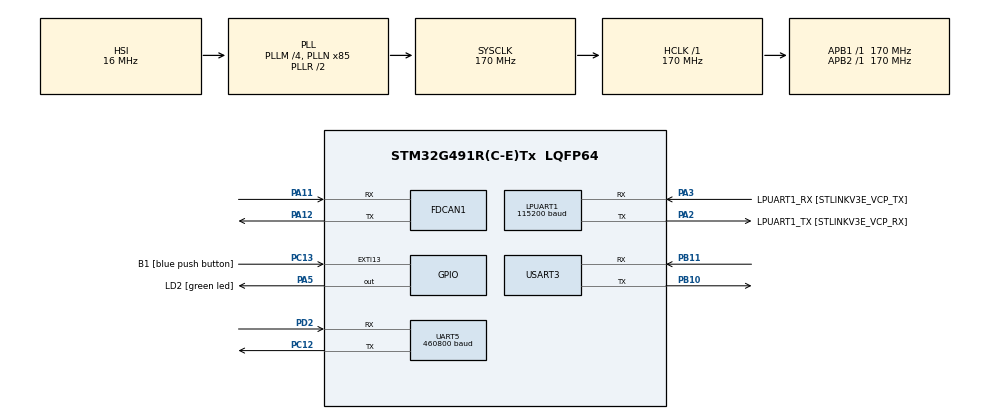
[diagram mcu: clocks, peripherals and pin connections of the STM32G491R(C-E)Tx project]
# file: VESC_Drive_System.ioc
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Dma.LPUART1_RX.0.Direction=DMA_PERIPH_TO_MEMORY
Dma.LPUART1_RX.0.EventEnable=DISABLE
Dma.LPUART1_RX.0.Instance=DMA1_Channel1
Dma.LPUART1_RX.0.MemDataAlignment=DMA_MDATAALIGN_BYTE
Dma.LPUART1_RX.0.MemInc=DMA_MINC_ENABLE
Dma.LPUART1_RX.0.Mode=DMA_CIRCULAR
Dma.LPUART1_RX.0.PeriphDataAlignment=DMA_PDATAALIGN_BYTE
Dma.LPUART1_RX.0.PeriphInc=DMA_PINC_DISABLE
Dma.LPUART1_RX.0.Polarity=HAL_DMAMUX_REQ_GEN_RISING
Dma.LPUART1_RX.0.Priority=DMA_PRIORITY_LOW
Dma.LPUART1_RX.0.RequestNumber=1
Dma.LPUART1_RX.0.SignalID=NONE
Dma.LPUART1_RX.0.SyncEnable=DISABLE
Dma.LPUART1_RX.0.SyncPolarity=HAL_DMAMUX_SYNC_NO_EVENT
Dma.LPUART1_RX.0.SyncRequestNumber=1
Dma.LPUART1_RX.0.SyncSignalID=NONE
Dma.Request0=LPUART1_RX
Dma.Request1=UART5_RX
Dma.UART5_RX.1.Direction=DMA_PERIPH_TO_MEMORY
Dma.UART5_RX.1.EventEnable=DISABLE
Dma.UART5_RX.1.Instance=DMA1_Channel2
Dma.UART5_RX.1.MemDataAlignment=DMA_MDATAALIGN_BYTE
Dma.UART5_RX.1.MemInc=DMA_MINC_ENABLE
Dma.UART5_RX.1.Mode=DMA_NORMAL
Dma.UART5_RX.1.PeriphDataAlignment=DMA_PDATAALIGN_BYTE
Dma.UART5_RX.1.PeriphInc=DMA_PINC_DISABLE
Dma.UART5_RX.1.Polarity=HAL_DMAMUX_REQ_GEN_RISING
Dma.UART5_RX.1.Priority=DMA_PRIORITY_LOW
Dma.UART5_RX.1.RequestNumber=1
Dma.UART5_RX.1.SignalID=NONE
Dma.UART5_RX.1.SyncEnable=DISABLE
Dma.UART5_RX.1.SyncPolarity=HAL_DMAMUX_SYNC_NO_EVENT
Dma.UART5_RX.1.SyncRequestNumber=1
Dma.UART5_RX.1.SyncSignalID=NONE
FDCAN1.AutoRetransmission=ENABLE
FDCAN1.CalculateBaudRateNominal=499999
FDCAN1.CalculateTimeBitNominal=2000
FDCAN1.CalculateTimeQuantumNominal=23.529411764705884
FDCAN1.NominalPrescaler=4
FDCAN1.NominalTimeSeg1=56
FDCAN1.NominalTimeSeg2=28
LPUART1.BaudRate=115200
LPUART1.WordLength=UART_WORDLENGTH_8B
Mcu.Family=STM32G4
Mcu.Name=STM32G491R(C-E)Tx
Mcu.Package=LQFP64
NVIC.DMA1_Channel1_IRQn=true\:0\:0\:false\:false\:true\:false\:true\:true
NVIC.DMA1_Channel2_IRQn=true\:0\:0\:false\:false\:true\:false\:true\:true
NVIC.EXTI15_10_IRQn=true\:0\:0\:false\:false\:true\:true\:true\:true
NVIC.FDCAN1_IT0_IRQn=true\:0\:0\:false\:false\:true\:true\:true\:true
NVIC.PriorityGroup=NVIC_PRIORITYGROUP_4
NVIC.TIM2_IRQn=true\:0\:0\:false\:false\:true\:true\:true\:true
NVIC.TIM3_IRQn=true\:0\:0\:false\:false\:true\:true\:true\:true
NVIC.TIM4_IRQn=true\:0\:0\:false\:false\:true\:true\:true\:true
PA11.Mode=FDCAN_Activate
PA11.Signal=FDCAN1_RX
PA12.Mode=FDCAN_Activate
PA12.Signal=FDCAN1_TX
PA13.GPIO_Label=T_SWDIO
PA13.Mode=Serial_Wire
PA13.Signal=SYS_JTMS-SWDIO
PA14.GPIO_Label=T_SWCLK
PA14.Mode=Serial_Wire
PA14.Signal=SYS_JTCK-SWCLK
PA2.GPIO_Label=LPUART1_TX [STLINKV3E_VCP_RX]
PA2.Mode=Asynchronous
PA2.Signal=LPUART1_TX
PA3.GPIO_Label=LPUART1_RX [STLINKV3E_VCP_TX]
PA3.Mode=Asynchronous
PA3.Signal=LPUART1_RX
PA5.GPIO_Label=LD2 [green led]
PA5.Signal=GPIO_Output
PB10.Mode=Asynchronous
PB10.Signal=USART3_TX
PB11.Mode=Asynchronous
PB11.Signal=USART3_RX
PB3.GPIO_Label=T_SWO
PB3.Signal=SYS_JTDO-SWO
PC12.Mode=Asynchronous
PC12.Signal=UART5_TX
PC13.GPIO_Label=B1 [blue push button]
PC13.Signal=GPXTI13
PC14-OSC32_IN.Mode=LSE-External-Oscillator
PC14-OSC32_IN.Signal=RCC_OSC32_IN
PC15-OSC32_OUT.Mode=LSE-External-Oscillator
PC15-OSC32_OUT.Signal=RCC_OSC32_OUT
PD2.Mode=Asynchronous
PD2.Signal=UART5_RX
PF0-OSC_IN.Mode=HSE-External-Oscillator
PF0-OSC_IN.Signal=RCC_OSC_IN
PF1-OSC_OUT.Mode=HSE-External-Oscillator
PF1-OSC_OUT.Signal=RCC_OSC_OUT
ProjectManager.HeapSize=0x200
ProjectManager.StackSize=0x400
ProjectManager.TargetToolchain=STM32CubeIDE
RCC.ADC12Freq_Value=170000000
RCC.ADC345Freq_Value=170000000
RCC.AHBFreq_Value=170000000
RCC.APB1Freq_Value=170000000
RCC.APB1TimFreq_Value=170000000
RCC.APB2Freq_Value=170000000
RCC.APB2TimFreq_Value=170000000
RCC.CortexFreq_Value=170000000
RCC.EXTERNAL_CLOCK_VALUE=12288000
RCC.HCLKFreq_Value=170000000
RCC.HSE_VALUE=24000000
RCC.HSI48_VALUE=48000000
RCC.HSI_VALUE=16000000
RCC.PLLM=RCC_PLLM_DIV4
RCC.PLLN=85
RCC.RTCClockSelection=RCC_RTCCLKSOURCE_LSE
RCC.SYSCLKFreq_VALUE=170000000
RCC.SYSCLKSource=RCC_SYSCLKSOURCE_PLLCLK
RCC.USBFreq_Value=48000000
RCC.VCOOutputFreq_Value=340000000
TIM2.PeriodNoDither=500000-1
TIM2.Prescaler=339
TIM3.PeriodNoDither=50000-1
TIM3.Prescaler=680
TIM4.PeriodNoDither=50000
TIM4.Prescaler=6800
UART5.BaudRate=460800
USART3.VirtualMode-Asynchronous=VM_ASYNC
VP_SYS_VS_DBSignals.Mode=DisableDeadBatterySignals
VP_TIM2_VS_ClockSourceINT.Mode=Internal
VP_TIM3_VS_ClockSourceINT.Mode=Internal
VP_TIM4_VS_ClockSourceINT.Mode=Internal
board=NUCLEO-G491RE

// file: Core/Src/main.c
/* USER CODE BEGIN Header */
/**
  ******************************************************************************
  * @file           : main.c
  * @brief          : Main program body
  ******************************************************************************
  * @attention
  *
  * Copyright (c) 2023 STMicroelectronics.
  * All rights reserved.
  *
  * This software is licensed under terms that can be found in the LICENSE file
  * in the root directory of this software component.
  * If no LICENSE file comes with this software, it is provided AS-IS.
  *
  ******************************************************************************
  */
/* USER CODE END Header */
#include "main.h"

/* USER CODE BEGIN Includes */
#include "vesc_can_com.h"
#include "GNSS.h"
/* USER CODE END Includes */

FDCAN_HandleTypeDef hfdcan1;

UART_HandleTypeDef hlpuart1;
UART_HandleTypeDef huart5;
UART_HandleTypeDef huart3;
DMA_HandleTypeDef hdma_lpuart1_rx;
DMA_HandleTypeDef hdma_uart5_rx;

TIM_HandleTypeDef htim2;
TIM_HandleTypeDef htim3;
TIM_HandleTypeDef htim4;

/* USER CODE BEGIN PV */

FDCAN_TxHeaderTypeDef TxHeader;
volatile FDCAN_RxHeaderTypeDef RxHeader;
FDCAN_FilterTypeDef RxFilter;
uint8_t run = 0;
uint8_t               TxData[8];
volatile uint8_t               RxData[8];
int32_t speed = 0;
int32_t angular_speed = 0;
int32_t speed_data[4] = {0};
int32_t speed_data_tmp[4] = {0};
uint32_t              TxMailbox;
uint8_t rx_data[64];// = {0};
uint8_t s_pos = 0;
uint8_t rx_count = 0;
int alicisayac;
uint8_t tx_data[58] = {0};
uint8_t s_flag = 0;
uint8_t msg_length = 0;
uint8_t can_send_msg = 0;
int32_t axis[6] = {0};
uint8_t buffer[50] = {0};
uint32_t ID = 0;
int32_t speed_r = 0;
int32_t speed_l = 0;
int i = 0;
uint8_t led_state = 0;

//GNSS global variables
uint8_t gnss_rxBuff[100];
uint8_t gnss_parsedRxData[18] = {0};
GNSS_Data_t GNSS_data;
/* USER CODE END PV */

void SystemClock_Config(void);
static void MX_GPIO_Init(void);
static void MX_DMA_Init(void);
static void MX_LPUART1_UART_Init(void);
static void MX_FDCAN1_Init(void);
static void MX_TIM2_Init(void);
static void MX_TIM3_Init(void);
static void MX_USART3_UART_Init(void);
static void MX_TIM4_Init(void);
static void MX_UART5_Init(void);

/* USER CODE BEGIN 0 */
uint8_t bin2hex(uint32_t num) {
	uint8_t hex_value = 0;
	if (num >= 0 && num <= 9) {
		hex_value = '0' + num;
	}
	else if (num >= 10 && num < 16) {
		hex_value = 'A' + num - 10;
	}
	return hex_value;
}
/* USER CODE END 0 */

int main(void)
{

  /* MCU Configuration--------------------------------------------------------*/

  /* Reset of all peripherals, Initializes the Flash interface and the Systick. */
  HAL_Init();

  /* Configure the system clock */
  SystemClock_Config();

  /* Initialize all configured peripherals */
  MX_GPIO_Init();
  MX_DMA_Init();
  MX_LPUART1_UART_Init();
  MX_FDCAN1_Init();
  MX_TIM2_Init();
  MX_TIM3_Init();
  MX_USART3_UART_Init();
  MX_TIM4_Init();
  MX_UART5_Init();
  /* USER CODE BEGIN 2 */

  TxHeader.DataLength = FDCAN_DLC_BYTES_8;
  TxHeader.TxFrameType = FDCAN_DATA_FRAME;
  TxHeader.Identifier = 0x0233;
  TxHeader.IdType = FDCAN_EXTENDED_ID;
  TxHeader.BitRateSwitch = FDCAN_BRS_OFF;
  TxHeader.TxEventFifoControl = FDCAN_NO_TX_EVENTS;
  TxHeader.MessageMarker = 0;
  TxHeader.FDFormat = FDCAN_CLASSIC_CAN;
  TxHeader.ErrorStateIndicator = FDCAN_ESI_PASSIVE;
/*
  RxFilter.IdType = FDCAN_EXTENDED_ID;
  RxFilter.FilterIndex = 0;
  RxFilter.FilterType = FDCAN_FILTER_MASK;
  RxFilter.FilterConfig = FDCAN_FILTER_TO_RXFIFO1;
  RxFilter.FilterID1 = 0x000;
  RxFilter.FilterID2 = 0x000;
  if (HAL_FDCAN_ConfigFilter(&hfdcan1, &RxFilter) != HAL_OK)
  {
    Error_Handler();
  }
*/

  HAL_Delay(500);
  HAL_FDCAN_Start(&hfdcan1);
  HAL_UART_Receive_DMA(&hlpuart1, rx_data, 12);

  if (HAL_FDCAN_ActivateNotification(&hfdcan1, FDCAN_IT_RX_FIFO0_NEW_MESSAGE, 0) != HAL_OK){
  	Error_Handler();
  }
  HAL_TIM_Base_Start_IT(&htim3);
  HAL_TIM_Base_Start_IT(&htim2);
  HAL_TIM_Base_Start_IT(&htim4);
  /* USER CODE END 2 */

  /* Infinite loop */
  /* USER CODE BEGIN WHILE */
  HAL_UART_Receive_DMA(&huart5, gnss_rxBuff,1);
  while (1)
  {

	  if((speed_r > 1400) || (speed_r < -1400)){
	  			  VESC_RUN_RPM(speed_r, 0x29, &TxHeader, &hfdcan1);
	  			  HAL_Delay(20);
	  			  VESC_RUN_RPM(speed_r, 0x2C, &TxHeader, &hfdcan1);
	  		  }
	  		  else{
	  			  VESC_RUN_HANDBRAKE(0x29, &TxHeader, &hfdcan1);
	  			  HAL_Delay(20);
	  			  VESC_RUN_HANDBRAKE(0x2C, &TxHeader, &hfdcan1);
	  		  }
	  		  HAL_Delay(20);
	  		  if((speed_l > 1400) || (speed_l < -1400)){
	  			  VESC_RUN_RPM(speed_l, 0x23, &TxHeader, &hfdcan1);
	  			  HAL_Delay(20);
	  			  VESC_RUN_RPM(speed_l, 0x24, &TxHeader, &hfdcan1);
	  		  }
	  		  else{
	  			  VESC_RUN_HANDBRAKE(0x23, &TxHeader, &hfdcan1);
	  			  HAL_Delay(20);
	  			  VESC_RUN_HANDBRAKE(0x24, &TxHeader, &hfdcan1);
	  		  }

	  HAL_Delay(20);
    /* USER CODE END WHILE */

  }
}

void SystemClock_Config(void)
{
  RCC_OscInitTypeDef RCC_OscInitStruct = {0};
  RCC_ClkInitTypeDef RCC_ClkInitStruct = {0};

  /** Configure the main internal regulator output voltage
  */
  HAL_PWREx_ControlVoltageScaling(PWR_REGULATOR_VOLTAGE_SCALE1_BOOST);

  /** Initializes the RCC Oscillators according to the specified parameters
  * in the RCC_OscInitTypeDef structure.
  */
  RCC_OscInitStruct.OscillatorType = RCC_OSCILLATORTYPE_HSI;
  RCC_OscInitStruct.HSIState = RCC_HSI_ON;
  RCC_OscInitStruct.HSICalibrationValue = RCC_HSICALIBRATION_DEFAULT;
  RCC_OscInitStruct.PLL.PLLState = RCC_PLL_ON;
  RCC_OscInitStruct.PLL.PLLSource = RCC_PLLSOURCE_HSI;
  RCC_OscInitStruct.PLL.PLLM = RCC_PLLM_DIV4;
  RCC_OscInitStruct.PLL.PLLN = 85;
  RCC_OscInitStruct.PLL.PLLP = RCC_PLLP_DIV2;
  RCC_OscInitStruct.PLL.PLLQ = RCC_PLLQ_DIV2;
  RCC_OscInitStruct.PLL.PLLR = RCC_PLLR_DIV2;
  if (HAL_RCC_OscConfig(&RCC_OscInitStruct) != HAL_OK)
  {
    Error_Handler();
  }

  /** Initializes the CPU, AHB and APB buses clocks
  */
  RCC_ClkInitStruct.ClockType = RCC_CLOCKTYPE_HCLK|RCC_CLOCKTYPE_SYSCLK
                              |RCC_CLOCKTYPE_PCLK1|RCC_CLOCKTYPE_PCLK2;
  RCC_ClkInitStruct.SYSCLKSource = RCC_SYSCLKSOURCE_PLLCLK;
  RCC_ClkInitStruct.AHBCLKDivider = RCC_SYSCLK_DIV1;
  RCC_ClkInitStruct.APB1CLKDivider = RCC_HCLK_DIV1;
  RCC_ClkInitStruct.APB2CLKDivider = RCC_HCLK_DIV1;

  if (HAL_RCC_ClockConfig(&RCC_ClkInitStruct, FLASH_LATENCY_4) != HAL_OK)
  {
    Error_Handler();
  }
}

static void MX_FDCAN1_Init(void)
{

  hfdcan1.Instance = FDCAN1;
  hfdcan1.Init.ClockDivider = FDCAN_CLOCK_DIV1;
  hfdcan1.Init.FrameFormat = FDCAN_FRAME_CLASSIC;
  hfdcan1.Init.Mode = FDCAN_MODE_NORMAL;
  hfdcan1.Init.AutoRetransmission = ENABLE;
  hfdcan1.Init.TransmitPause = DISABLE;
  hfdcan1.Init.ProtocolException = DISABLE;
  hfdcan1.Init.NominalPrescaler = 4;
  hfdcan1.Init.NominalSyncJumpWidth = 1;
  hfdcan1.Init.NominalTimeSeg1 = 56;
  hfdcan1.Init.NominalTimeSeg2 = 28;
  hfdcan1.Init.DataPrescaler = 1;
  hfdcan1.Init.DataSyncJumpWidth = 1;
  hfdcan1.Init.DataTimeSeg1 = 1;
  hfdcan1.Init.DataTimeSeg2 = 1;
  hfdcan1.Init.StdFiltersNbr = 0;
  hfdcan1.Init.ExtFiltersNbr = 0;
  hfdcan1.Init.TxFifoQueueMode = FDCAN_TX_FIFO_OPERATION;
  if (HAL_FDCAN_Init(&hfdcan1) != HAL_OK)
  {
    Error_Handler();
  }

}

static void MX_LPUART1_UART_Init(void)
{

  hlpuart1.Instance = LPUART1;
  hlpuart1.Init.BaudRate = 115200;
  hlpuart1.Init.WordLength = UART_WORDLENGTH_8B;
  hlpuart1.Init.StopBits = UART_STOPBITS_1;
  hlpuart1.Init.Parity = UART_PARITY_NONE;
  hlpuart1.Init.Mode = UART_MODE_TX_RX;
  hlpuart1.Init.HwFlowCtl = UART_HWCONTROL_NONE;
  hlpuart1.Init.OneBitSampling = UART_ONE_BIT_SAMPLE_DISABLE;
  hlpuart1.Init.ClockPrescaler = UART_PRESCALER_DIV1;
  hlpuart1.AdvancedInit.AdvFeatureInit = UART_ADVFEATURE_NO_INIT;
  if (HAL_UART_Init(&hlpuart1) != HAL_OK)
  {
    Error_Handler();
  }
  if (HAL_UARTEx_SetTxFifoThreshold(&hlpuart1, UART_TXFIFO_THRESHOLD_1_8) != HAL_OK)
  {
    Error_Handler();
  }
  if (HAL_UARTEx_SetRxFifoThreshold(&hlpuart1, UART_RXFIFO_THRESHOLD_1_8) != HAL_OK)
  {
    Error_Handler();
  }
  if (HAL_UARTEx_DisableFifoMode(&hlpuart1) != HAL_OK)
  {
    Error_Handler();
  }

}

static void MX_UART5_Init(void)
{

  huart5.Instance = UART5;
  huart5.Init.BaudRate = 460800;
  huart5.Init.WordLength = UART_WORDLENGTH_8B;
  huart5.Init.StopBits = UART_STOPBITS_1;
  huart5.Init.Parity = UART_PARITY_NONE;
  huart5.Init.Mode = UART_MODE_TX_RX;
  huart5.Init.HwFlowCtl = UART_HWCONTROL_NONE;
  huart5.Init.OverSampling = UART_OVERSAMPLING_16;
  huart5.Init.OneBitSampling = UART_ONE_BIT_SAMPLE_DISABLE;
  huart5.Init.ClockPrescaler = UART_PRESCALER_DIV1;
  huart5.AdvancedInit.AdvFeatureInit = UART_ADVFEATURE_NO_INIT;
  if (HAL_UART_Init(&huart5) != HAL_OK)
  {
    Error_Handler();
  }
  if (HAL_UARTEx_SetTxFifoThreshold(&huart5, UART_TXFIFO_THRESHOLD_1_8) != HAL_OK)
  {
    Error_Handler();
  }
  if (HAL_UARTEx_SetRxFifoThreshold(&huart5, UART_RXFIFO_THRESHOLD_1_8) != HAL_OK)
  {
    Error_Handler();
  }
  if (HAL_UARTEx_DisableFifoMode(&huart5) != HAL_OK)
  {
    Error_Handler();
  }

}

static void MX_USART3_UART_Init(void)
{

  huart3.Instance = USART3;
  huart3.Init.BaudRate = 115200;
  huart3.Init.WordLength = UART_WORDLENGTH_8B;
  huart3.Init.StopBits = UART_STOPBITS_1;
  huart3.Init.Parity = UART_PARITY_NONE;
  huart3.Init.Mode = UART_MODE_TX_RX;
  huart3.Init.HwFlowCtl = UART_HWCONTROL_NONE;
  huart3.Init.OverSampling = UART_OVERSAMPLING_16;
  huart3.Init.OneBitSampling = UART_ONE_BIT_SAMPLE_DISABLE;
  huart3.Init.ClockPrescaler = UART_PRESCALER_DIV1;
  huart3.AdvancedInit.AdvFeatureInit = UART_ADVFEATURE_NO_INIT;
  if (HAL_UART_Init(&huart3) != HAL_OK)
  {
    Error_Handler();
  }
  if (HAL_UARTEx_SetTxFifoThreshold(&huart3, UART_TXFIFO_THRESHOLD_1_8) != HAL_OK)
  {
    Error_Handler();
  }
  if (HAL_UARTEx_SetRxFifoThreshold(&huart3, UART_RXFIFO_THRESHOLD_1_8) != HAL_OK)
  {
    Error_Handler();
  }
  if (HAL_UARTEx_DisableFifoMode(&huart3) != HAL_OK)
  {
    Error_Handler();
  }

}

static void MX_TIM2_Init(void)
{

  TIM_ClockConfigTypeDef sClockSourceConfig = {0};
  TIM_MasterConfigTypeDef sMasterConfig = {0};

  htim2.Instance = TIM2;
  htim2.Init.Prescaler = 339;
  htim2.Init.CounterMode = TIM_COUNTERMODE_UP;
  htim2.Init.Period = 499999;
  htim2.Init.ClockDivision = TIM_CLOCKDIVISION_DIV1;
  htim2.Init.AutoReloadPreload = TIM_AUTORELOAD_PRELOAD_DISABLE;
  if (HAL_TIM_Base_Init(&htim2) != HAL_OK)
  {
    Error_Handler();
  }
  sClockSourceConfig.ClockSource = TIM_CLOCKSOURCE_INTERNAL;
  if (HAL_TIM_ConfigClockSource(&htim2, &sClockSourceConfig) != HAL_OK)
  {
    Error_Handler();
  }
  sMasterConfig.MasterOutputTrigger = TIM_TRGO_RESET;
  sMasterConfig.MasterSlaveMode = TIM_MASTERSLAVEMODE_DISABLE;
  if (HAL_TIMEx_MasterConfigSynchronization(&htim2, &sMasterConfig) != HAL_OK)
  {
    Error_Handler();
  }

}

static void MX_TIM3_Init(void)
{

  TIM_ClockConfigTypeDef sClockSourceConfig = {0};
  TIM_MasterConfigTypeDef sMasterConfig = {0};

  htim3.Instance = TIM3;
  htim3.Init.Prescaler = 680;
  htim3.Init.CounterMode = TIM_COUNTERMODE_UP;
  htim3.Init.Period = 49999;
  htim3.Init.ClockDivision = TIM_CLOCKDIVISION_DIV1;
  htim3.Init.AutoReloadPreload = TIM_AUTORELOAD_PRELOAD_DISABLE;
  if (HAL_TIM_Base_Init(&htim3) != HAL_OK)
  {
    Error_Handler();
  }
  sClockSourceConfig.ClockSource = TIM_CLOCKSOURCE_INTERNAL;
  if (HAL_TIM_ConfigClockSource(&htim3, &sClockSourceConfig) != HAL_OK)
  {
    Error_Handler();
  }
  sMasterConfig.MasterOutputTrigger = TIM_TRGO_RESET;
  sMasterConfig.MasterSlaveMode = TIM_MASTERSLAVEMODE_DISABLE;
  if (HAL_TIMEx_MasterConfigSynchronization(&htim3, &sMasterConfig) != HAL_OK)
  {
    Error_Handler();
  }

}

static void MX_TIM4_Init(void)
{

  TIM_ClockConfigTypeDef sClockSourceConfig = {0};
  TIM_MasterConfigTypeDef sMasterConfig = {0};

  htim4.Instance = TIM4;
  htim4.Init.Prescaler = 6800;
  htim4.Init.CounterMode = TIM_COUNTERMODE_UP;
  htim4.Init.Period = 50000;
  htim4.Init.ClockDivision = TIM_CLOCKDIVISION_DIV1;
  htim4.Init.AutoReloadPreload = TIM_AUTORELOAD_PRELOAD_DISABLE;
  if (HAL_TIM_Base_Init(&htim4) != HAL_OK)
  {
    Error_Handler();
  }
  sClockSourceConfig.ClockSource = TIM_CLOCKSOURCE_INTERNAL;
  if (HAL_TIM_ConfigClockSource(&htim4, &sClockSourceConfig) != HAL_OK)
  {
    Error_Handler();
  }
  sMasterConfig.MasterOutputTrigger = TIM_TRGO_RESET;
  sMasterConfig.MasterSlaveMode = TIM_MASTERSLAVEMODE_DISABLE;
  if (HAL_TIMEx_MasterConfigSynchronization(&htim4, &sMasterConfig) != HAL_OK)
  {
    Error_Handler();
  }

}

static void MX_DMA_Init(void)
{

  /* DMA controller clock enable */
  __HAL_RCC_DMAMUX1_CLK_ENABLE();
  __HAL_RCC_DMA1_CLK_ENABLE();

  /* DMA interrupt init */
  /* DMA1_Channel1_IRQn interrupt configuration */
  HAL_NVIC_SetPriority(DMA1_Channel1_IRQn, 0, 0);
  HAL_NVIC_EnableIRQ(DMA1_Channel1_IRQn);
  /* DMA1_Channel2_IRQn interrupt configuration */
  HAL_NVIC_SetPriority(DMA1_Channel2_IRQn, 0, 0);
  HAL_NVIC_EnableIRQ(DMA1_Channel2_IRQn);

}

static void MX_GPIO_Init(void)
{
  GPIO_InitTypeDef GPIO_InitStruct = {0};

  /* GPIO Ports Clock Enable */
  __HAL_RCC_GPIOC_CLK_ENABLE();
  __HAL_RCC_GPIOF_CLK_ENABLE();
  __HAL_RCC_GPIOA_CLK_ENABLE();
  __HAL_RCC_GPIOB_CLK_ENABLE();
  __HAL_RCC_GPIOD_CLK_ENABLE();

  /*Configure GPIO pin Output Level */
  HAL_GPIO_WritePin(LD2_GPIO_Port, LD2_Pin, GPIO_PIN_RESET);

  /*Configure GPIO pin : B1_Pin */
  GPIO_InitStruct.Pin = B1_Pin;
  GPIO_InitStruct.Mode = GPIO_MODE_IT_RISING;
  GPIO_InitStruct.Pull = GPIO_NOPULL;
  HAL_GPIO_Init(B1_GPIO_Port, &GPIO_InitStruct);

  /*Configure GPIO pin : LD2_Pin */
  GPIO_InitStruct.Pin = LD2_Pin;
  GPIO_InitStruct.Mode = GPIO_MODE_OUTPUT_PP;
  GPIO_InitStruct.Pull = GPIO_NOPULL;
  GPIO_InitStruct.Speed = GPIO_SPEED_FREQ_LOW;
  HAL_GPIO_Init(LD2_GPIO_Port, &GPIO_InitStruct);

  /* EXTI interrupt init*/
  HAL_NVIC_SetPriority(EXTI15_10_IRQn, 0, 0);
  HAL_NVIC_EnableIRQ(EXTI15_10_IRQn);

}

/* USER CODE BEGIN 4 */

void HAL_FDCAN_RxFifo0Callback(FDCAN_HandleTypeDef *hfdcan, uint32_t RxFifo0ITs){
	if((RxFifo0ITs && FDCAN_IT_RX_FIFO0_NEW_MESSAGE) != RESET){
				if(HAL_FDCAN_GetRxMessage(hfdcan, FDCAN_RX_FIFO0, &RxHeader, RxData) != HAL_OK){
					Error_Handler();
				}
				if ((RxHeader.Identifier >> 8) == 0x9){
					ID = RxHeader.Identifier & 0xFF;
					switch (ID){
					case 0x2C:
						speed_data[0] = (RxData[0] << 24) | (RxData[1] << 16) | (RxData[2] << 8) | RxData[3];
						break;
					case 0x29:
						speed_data[1] = (RxData[0] << 24) | (RxData[1] << 16) | (RxData[2] << 8) | RxData[3];
						break;
					case 0x23:
						speed_data[2] = (RxData[0] << 24) | (RxData[1] << 16) | (RxData[2] << 8) | RxData[3];
						break;
					case 0x24:
						speed_data[3] = (RxData[0] << 24) | (RxData[1] << 16) | (RxData[2] << 8) | RxData[3];
						break;
					}

				}
				if (HAL_FDCAN_ActivateNotification(hfdcan, FDCAN_IT_RX_FIFO0_NEW_MESSAGE, 0) != HAL_OK){
					Error_Handler();
				}
			}

}

void HAL_UART_RxCpltCallback(UART_HandleTypeDef *huart)
{
	    TIM2->CNT = 0;
	    int s_pos = -1;
	    int f_pos = -1;
	    int rx_data_len = sizeof(rx_data);
	    char temp_data[50];
	    int temp_idx = 0;
	    for (int i = 0; i < rx_data_len; i++) {
	        if (rx_data[i] == 'S') {
	            s_pos = i;
	        }
	        if (rx_data[i] == 'F') {
	            f_pos = i;
	        }
	    }
	    if (s_pos == -1 || f_pos == -1) {
	        return;  //S veya F bulunamadı
	    }
	    if (f_pos > s_pos) {

	        for (int i = s_pos + 1; i < f_pos; i++) {
	            temp_data[temp_idx++] = rx_data[i];
	        }
	    } else {
	        for (int i = s_pos + 1; i < rx_data_len; i++) {
	            temp_data[temp_idx++] = rx_data[i];
	        }
	        for (int i = 0; i < f_pos; i++) {
	            temp_data[temp_idx++] = rx_data[i];
	        }
	    }

	    if (temp_idx >= 10) {
	        angular_speed = 10 * ((temp_data[1] - 48) * 100 + (temp_data[2] - 48) * 10 + (temp_data[3] - 48));
	        angular_speed = (temp_data[0] - 48) ? angular_speed : -angular_speed;
	        speed = 10 * ((temp_data[5] - 48) * 1000 + (temp_data[6] - 48) * 100 + (temp_data[7] - 48) * 10 + (temp_data[8] - 48));
	        speed = (temp_data[4] - 48) ? speed : (-1 * speed);
	        speed_r = speed + angular_speed * 10;
	        speed_l = speed - angular_speed * 10;

	        led_state = temp_data[9];
	    }

if(huart==&huart5){

	if (GNSS_PVTmsgSync(gnss_rxBuff) == 0)
			return;
		GNSS_PVTmsgParse(gnss_rxBuff, gnss_parsedRxData);
		GNSS_PVTmsgDisplay(gnss_rxBuff,&GNSS_data);
		HAL_UART_Receive_DMA(&huart3, gnss_rxBuff, 100);

}

	}

void HAL_TIM_PeriodElapsedCallback(TIM_HandleTypeDef *htim)
{
	if (htim == &htim2){
		speed_l = 0;
		speed_r = 0;
	}
	if (htim == &htim4){
		HAL_UART_Transmit(&huart3, &led_state, 1, 10);
	}
	if (htim == &htim3){

		  for(i = 0;i<4;i++){
			  speed_data_tmp[i] = speed_data[i];
		  }

		  tx_data[41] = 'X';
		  for (i = 0; i < 8; i++){
			  tx_data[8-i] = bin2hex(speed_data_tmp[0] & 0xF);
			  speed_data_tmp[0] = speed_data_tmp[0] >> 4;
		  }
		  for (i = 0; i < 8; i++){
			  tx_data[16-i] = bin2hex(speed_data_tmp[1] & 0xF);
			  speed_data_tmp[1] = speed_data_tmp[1] >> 4;
		  }
		  for (i = 0; i < 8; i++){
			  tx_data[24-i] = bin2hex(speed_data_tmp[2] & 0xF);
			  speed_data_tmp[2] = speed_data_tmp[2] >> 4;
		  }
		  for (i = 0; i < 8; i++){
			  tx_data[32-i] = bin2hex(speed_data_tmp[3] & 0xF);
			  speed_data_tmp[3] = speed_data_tmp[3] >> 4;
		  }
		  for (i = 0; i < 8; i++){
			  tx_data[40-i] = '0';
		  }
		  tx_data[0] = 'S';
		  memcpy((char*) (tx_data+41),(char*) gnss_parsedRxData , 16);
		  tx_data[42] = 'F';
		  HAL_UART_Transmit(&hlpuart1, tx_data, 58, 50);
	}
}

/* USER CODE END 4 */

void Error_Handler(void)
{
  /* USER CODE BEGIN Error_Handler_Debug */
  /* User can add his own implementation to report the HAL error return state */
	NVIC_SystemReset();
  //__disable_irq();

  while (1)
  {
  }
  /* USER CODE END Error_Handler_Debug */
}
